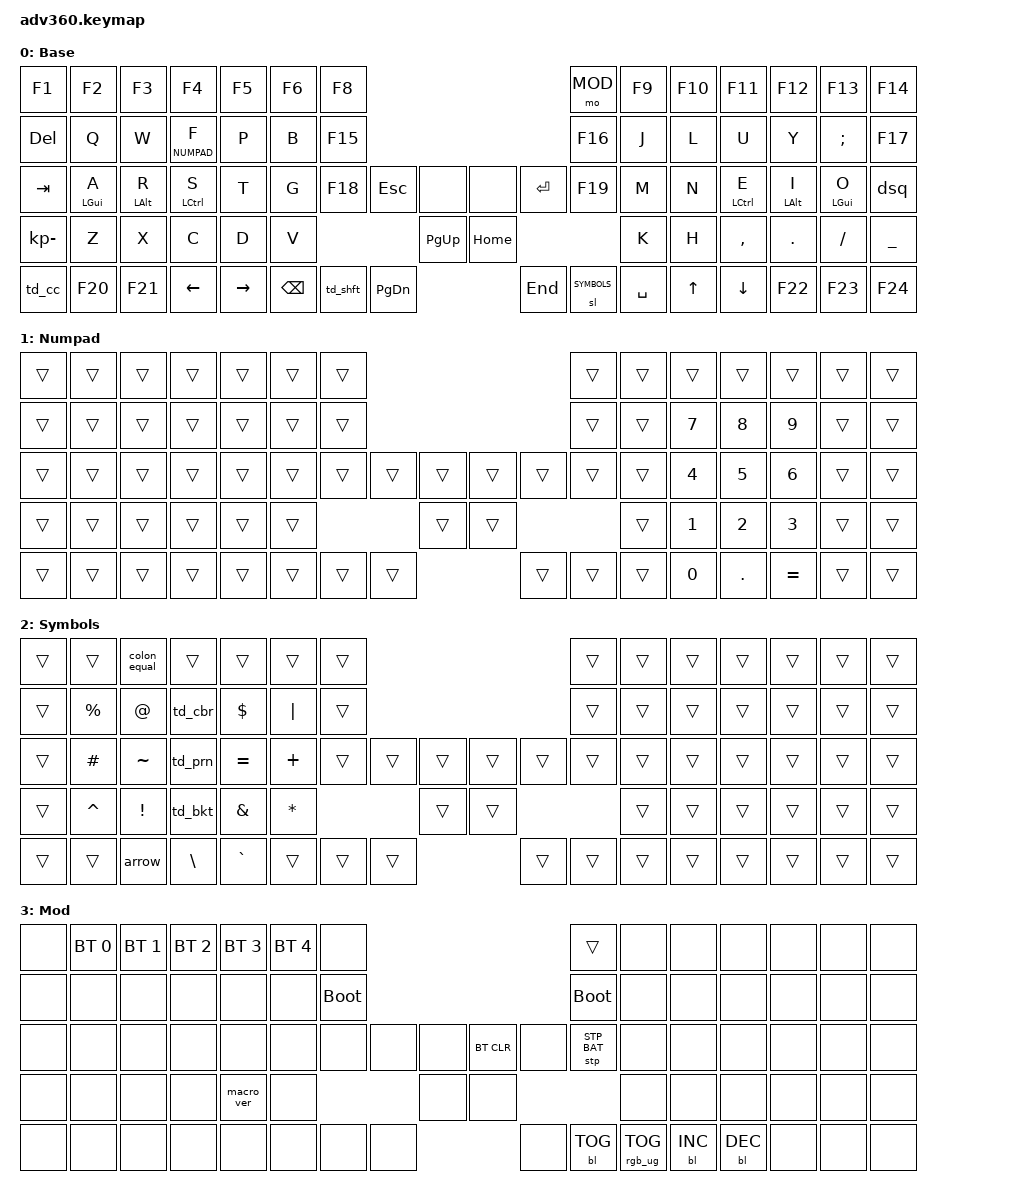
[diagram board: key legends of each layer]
#include <behaviors.dtsi>
#include <dt-bindings/zmk/keys.h>
#include <dt-bindings/zmk/bt.h>
#include <dt-bindings/zmk/rgb.h>
#include <dt-bindings/zmk/stp.h>
#include <dt-bindings/zmk/backlight.h>
#include <dt-bindings/zmk/pointing.h>

// Layers
#define DEFAULT 0
#define NUMPAD  1
#define SYMBOLS 2
#define MOD     3

// Home Row Mods
#define HM_A &hml LEFT_GUI A
#define HM_R &hml LEFT_ALT R
#define HM_S &hml LEFT_CONTROL S
#define HM_E &hmr LEFT_CONTROL E
#define HM_I &hmr LEFT_ALT I
#define HM_O &hmr LEFT_GUI O

/ {
	macros {
		arrow: arrow {
			compatible = "zmk,behavior-macro";
			#binding-cells = <0>;
			bindings = <&macro_tap &kp MINUS &kp GREATER_THAN>;
		};

		colon_equal: colon_equal {
			compatible = "zmk,behavior-macro";
			#binding-cells = <0>;
			bindings = <&macro_tap &kp COLON &kp EQUAL>;
		};
	};

	behaviors {
		#include "macros.dtsi"
		#include "version.dtsi"

		hml: homerow_mod_left {
			compatible = "zmk,behavior-hold-tap";
      label = "HOMEROW_MOD_LEFT";
      #binding-cells = <2>;
      bindings = <&kp>, <&kp>;

      flavor = "balanced";
      tapping-term-ms = <240>;
      quick-tap-ms = <175>;
      require-prior-idle-ms = <150>;
      hold-trigger-on-release;

			// Right hand keys
			hold-trigger-key-positions = <7 8 9 10 11 12 13 21 22 23 24 25 26 27 38 39 40 41 42 43 44 45 54 55 56 57 58 59 71 72 73 74 75>;
    };

    hmr: homerow_mod_right {
      compatible = "zmk,behavior-hold-tap";
      label = "HOMEROW_MOD_RIGHT";
      #binding-cells = <2>;
      bindings = <&kp>, <&kp>;

      flavor = "balanced";
      tapping-term-ms = <240>;
      quick-tap-ms = <175>;
      require-prior-idle-ms = <150>;
      hold-trigger-on-release;

      hold-trigger-key-positions = <0 1 2 3 4 5 6 14 15 16 17 18 19 20 28 29 30 31 32 33 34 38 46 47 48 49 50 51 60 61 62 63 64>;
    };

    dsq: double_single_quote {
      compatible = "zmk,behavior-mod-morph";
      label = "DOUBLE_SINGLE_QUOTE";
      #binding-cells = <0>;
      bindings = <&kp DOUBLE_QUOTES>, <&kp SINGLE_QUOTE>;
      mods = <MOD_LSFT>;
    };

    td_cc: tap_dance_copy_cut {
      compatible = "zmk,behavior-tap-dance";
      label = "TAP_DANCE_COPY_CUT";
      #binding-cells = <0>;
      tapping-term-ms = <200>;
      bindings = <&kp LC(C)>, <&kp LC(X)>;
    };

    td_cbr: tap_dance_curly_braces {
      compatible = "zmk,behavior-tap-dance";
      label = "TAP_DANCE_CURLY_BRACES";
      #binding-cells = <0>;
      tapping-term-ms = <200>;
      bindings = <&kp LEFT_BRACE>, <&kp RIGHT_BRACE>;
    };

    td_prn: tap_dance_parenthesis {
      compatible = "zmk,behavior-tap-dance";
      label = "TAP_DANCE_PARENTHESIS";
      #binding-cells = <0>;
      tapping-term-ms = <200>;
      bindings = <&kp LEFT_PARENTHESIS>, <&kp RIGHT_PARENTHESIS>;
    };

    td_bkt: tap_dance_brakets {
      compatible = "zmk,behavior-tap-dance";
      label = "TAP_DANCE_BRACKETS";
      #binding-cells = <0>;
      tapping-term-ms = <200>;
      bindings = <&kp LEFT_BRACKET>, <&kp RIGHT_BRACKET>;
    };

    skq: sticky_key_quick_release {
      compatible = "zmk,behavior-sticky-key";
      label = "STICKY_KEY_QUICK_RELEASE";
      #binding-cells = <1>;
      bindings = <&kp>;
      release-after-ms = <1000>;
      quick-release;
      ignore-modifiers;
    };

    td_shft: tap_dance_shift {
      compatible = "zmk,behavior-tap-dance";
      label = "TAP_DANCE_SHIFT";
      #binding-cells = <0>;
      tapping-term-ms = <200>;
      bindings = <&skq LEFT_SHIFT>, <&caps_word>;
    };
	};

  keymap {
    compatible = "zmk,keymap";

    default_layer {
      display-name = "Base";
      bindings = <
        &kp F1       &kp F2  &kp F3  &kp F4       &kp F5    &kp F6  &kp F8                                                                     &mo MOD &kp F9  &kp F10 &kp F11 &kp F12   &kp F13  &kp F14
        &kp DELETE   &kp Q   &kp W   &lt NUMPAD F &kp P     &kp B   &kp F15                                                                    &kp F16 &kp J   &kp L   &kp U     &kp Y   &kp SEMI &kp F17
        &kp TAB      HM_A    HM_R    HM_S         &kp T     &kp G   &kp F18            &kp ESC  &none        &none    &kp ENTER                &kp F19 &kp M   &kp N   HM_E      HM_I    HM_O     &dsq
        &kp KP_MINUS &kp Z   &kp X   &kp C        &kp D     &kp V                               &kp PG_UP    &kp HOME                                  &kp K   &kp H   &kp COMMA &kp DOT &kp FSLH &kp UNDERSCORE
        &td_cc       &kp F20 &kp F21 &kp LEFT     &kp RIGHT                   &kp BKSP &td_shft &kp PG_DN    &kp END  &sl SYMBOLS &kp SPACE                    &kp UP  &kp DOWN  &kp F22 &kp F23  &kp F24
      >;
    };

    numpad {
      display-name = "Numpad";
      bindings = <
        &trans &trans &trans &trans &trans &trans &trans                                           &trans &trans &trans &trans  &trans    &trans &trans
        &trans &trans &trans &trans &trans &trans &trans                                           &trans &trans &kp N7 &kp N8  &kp N9    &trans &trans
        &trans &trans &trans &trans &trans &trans &trans        &trans &trans &trans &trans        &trans &trans &kp N4 &kp N5  &kp N6    &trans &trans
        &trans &trans &trans &trans &trans &trans                      &trans &trans                      &trans &kp N1 &kp N2  &kp N3    &trans &trans
        &trans &trans &trans &trans &trans               &trans &trans &trans &trans &trans &trans               &kp N0 &kp DOT &kp EQUAL &trans &trans
      >;
    };

    symbols {
      display-name = "Symbols";
      bindings = <
        &trans &trans      &colon_equal    &trans        &trans        &trans       &trans                                           &trans &trans &trans &trans &trans &trans &trans
        &trans &kp PERCENT &kp AT          &td_cbr       &kp DOLLAR    &kp PIPE     &trans                                           &trans &trans &trans &trans &trans &trans &trans
        &trans &kp HASH    &kp TILDE       &td_prn       &kp EQUAL     &kp PLUS     &trans        &trans &trans &trans &trans        &trans &trans &trans &trans &trans &trans &trans
        &trans &kp CARET   &kp EXCLAMATION &td_bkt       &kp AMPERSAND &kp ASTERISK                      &trans &trans                      &trans &trans &trans &trans &trans &trans
        &trans &trans      &arrow          &kp BACKSLASH &kp GRAVE                         &trans &trans &trans &trans &trans &trans               &trans &trans &trans &trans &trans
      >;
    };

    mod {
      display-name = "Mod";
      bindings = <
        &none &bt BT_SEL 0 &bt BT_SEL 1 &bt BT_SEL 2 &bt BT_SEL 3 &bt BT_SEL 4 &none                                                                     &trans                 &none        &none        &none        &none &none &none
        &none &none        &none        &none        &none        &none        &bootloader                                                               &bootloader            &none        &none        &none        &none &none &none
        &none &none        &none        &none        &none        &none        &none                   &none &none &bt BT_CLR &none                      &stp STP_BAT &none     &none        &none        &none        &none &none
        &none &none        &none        &none        &macro_ver   &none                                      &none &none                                                        &none        &none        &none        &none &none &none
        &none &none        &none        &none        &none                                       &none &none &none &none &bl BL_TOG &rgb_ug RGB_TOG                                          &bl BL_INC   &bl BL_DEC   &none &none &none
      >;
    };

  };
};
